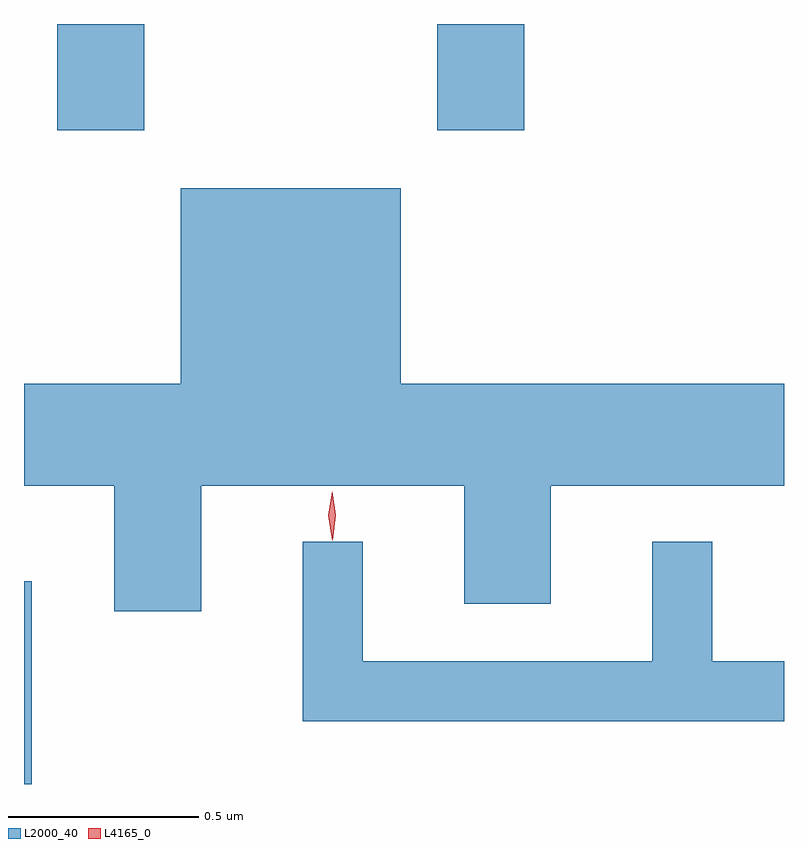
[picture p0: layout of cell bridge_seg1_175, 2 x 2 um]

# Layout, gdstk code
import gdstk
lib = gdstk.Library(unit=1e-6, precision=1e-09)
def R(c, l, rs):  # rectangles x0, y0, x1, y1
    for r in rs: c.add(gdstk.rectangle(r[:2], r[2:], *l))
def P(c, l, *ps):  # polygons
    for p in ps: c.add(gdstk.Polygon(p, *l))
L2000_40 = (2000, 40)
L4165_0 = (4165, 0)

bridge_seg1_175 = lib.new_cell('bridge_seg1_175')
R(bridge_seg1_175, L2000_40, [(731.403,947.631,731.424,948.164), (731.491,949.351,731.719,949.631), (732.491,949.351,732.719,949.631)])
P(bridge_seg1_175, L2000_40, [(731.869,948.416),(732.561,948.416),(732.561,948.106),(732.789,948.106),(732.789,948.416),(733.403,948.416),(733.403,948.684),(732.394,948.684),(732.394,949.199),(731.816,949.199),(731.816,948.684),(731.403,948.684),(731.403,948.416),(731.641,948.416),(731.641,948.086),(731.869,948.086)],
  [(733.403,947.954),(733.214,947.954),(733.214,948.268),(733.056,948.268),(733.056,947.954),(732.294,947.954),(732.294,948.268),(732.136,948.268),(732.136,947.796),(733.403,947.796)])
P(bridge_seg1_175, L4165_0, [(732.214,948.273),(732.204,948.338),(732.214,948.402),(732.214,948.402),(732.214,948.402),(732.224,948.338),(732.215,948.273),(732.215,948.273)])

lib.write_gds('bridge_seg1_175.gds')
